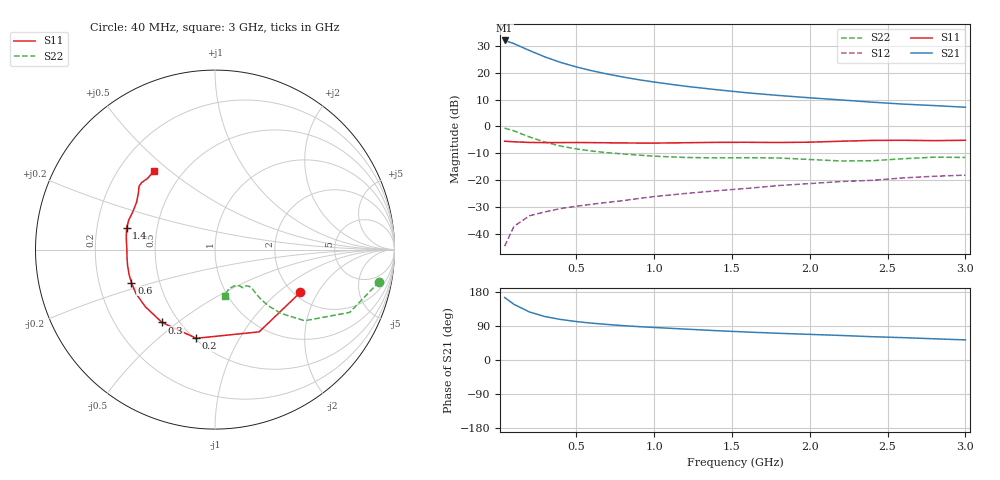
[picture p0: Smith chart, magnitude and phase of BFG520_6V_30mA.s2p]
! Filename:  BFG520L.S2P  Version:  2.1
! Philips part #: BFG520  Date: Feb 1992
! Bias condition: Vce=6V, Ic=30mA
! IN LINE PINNING: same data as with cross emitter pinning.
#  MHz  S  MA  R  50
! Freq  S11  S21  S12  S22  !GUM [dB]
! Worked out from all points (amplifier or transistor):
!   21 points, 40 MHz to 3 GHz, reference 50 ohm
!   highest |S21| = 31.9 dB at 40 MHz (marker M1)
!   |S21| within 3 dB of that: start of sweep to 170.8 MHz
!   unconditionally stable (mu >= 1): 795.1 MHz to end of sweep
!   at 300 MHz: K = 0.56, MSG = 28.8 dB, |S12| = -31.7 dB
!   at 1 GHz: K = 1.08, MAG = 19.5 dB, |S12| = -26.0 dB
!   at 3 GHz: K = 1.23, MAG = 9.7 dB, |S12| = -18.1 dB
!   S11 on the Smith chart (normalised r, x): 40 MHz: 2.16, -1.44; 200 MHz: 0.51, -0.68; 300 MHz: 0.41, -0.44; 600 MHz: 0.34, -0.17; 1.4 GHz: 0.33, +0.11; 3 GHz: 0.35, +0.44
40  0.532 -26.6  39.49 165.1  0.006 76.9  0.932 -11.1
100  0.52 -61.8  34.5 146.9  0.014 67.5  0.828 -25.0
200  0.505 -101.9  25.64 126.7  0.022 56.6  0.638 -38.4
300  0.502 -126.0  19.5 114.5  0.026 53.0  0.511 -44.1
400  0.502 -140.6  15.43 107.0  0.03 53.5  0.433 -46.4
500  0.504 -150.7  12.76 101.5  0.033 54.3  0.383 -47.2
600  0.501 -158.4  10.83 97.2  0.036 55.9  0.35 -47.2
700  0.498 -164.2  9.398 93.8  0.039 57.7  0.326 -46.9
800  0.495 -169.8  8.287 90.7  0.042 59.8  0.309 -46.5
900  0.492 -175.0  7.386 88.1  0.046 61.4  0.294 -46.5
1000  0.491 -179.7  6.68 85.9  0.05 62.7  0.281 -47.0
1200  0.499 172.3  5.587 81.6  0.057 64.3  0.266 -49.2
1400  0.507 166.4  4.82 77.4  0.064 65.5  0.261 -52.3
1600  0.508 161.2  4.21 73.7  0.071 67.8  0.263 -53.7
1800  0.504 155.0  3.763 70.5  0.08 67.7  0.26 -54.2
2000  0.511 148.6  3.403 67.6  0.087 68.8  0.244 -55.9
2200  0.532 143.3  3.11 64.8  0.095 68.7  0.229 -61.7
2400  0.551 140.2  2.826 61.5  0.1 69.8  0.231 -70.1
2600  0.554 137.6  2.602 59.0  0.111 69.6  0.252 -75.9
2800  0.546 133.5  2.442 55.9  0.119 68.1  0.269 -77.2
3000  0.554 128.0  2.274 53.1  0.125 68.9  0.266 -77.8
